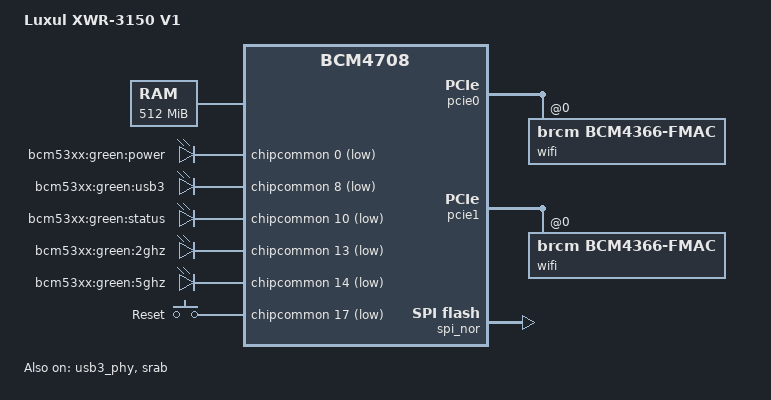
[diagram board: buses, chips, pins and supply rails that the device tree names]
// SPDX-License-Identifier: GPL-2.0-or-later OR MIT
/*
 * Copyright 2018 Luxul Inc.
 */

/dts-v1/;

#include "bcm47094.dtsi"
#include "bcm5301x-nand-cs0-bch8.dtsi"

/ {
	compatible = "luxul,xwr-3150-v1", "brcm,bcm47094", "brcm,bcm4708";
	model = "Luxul XWR-3150 V1";

	chosen {
		bootargs = "earlycon";
	};

	memory@0 {
		device_type = "memory";
		reg = <0x00000000 0x08000000>,
		      <0x88000000 0x18000000>;
	};

	nvram@1eff0000 {
		compatible = "brcm,nvram";
		reg = <0x1eff0000 0x10000>;

		et0macaddr: et0macaddr {
			#nvmem-cell-cells = <1>;
		};
	};

	leds {
		compatible = "gpio-leds";

		led-power {
			label = "bcm53xx:green:power";
			gpios = <&chipcommon 0 GPIO_ACTIVE_LOW>;
			linux,default-trigger = "default-on";
		};

		led-usb3 {
			label = "bcm53xx:green:usb3";
			gpios = <&chipcommon 8 GPIO_ACTIVE_LOW>;
			trigger-sources = <&ohci_port1>, <&ehci_port1>,
					  <&xhci_port1>;
			linux,default-trigger = "usbport";
		};

		led-status {
			label = "bcm53xx:green:status";
			gpios = <&chipcommon 10 GPIO_ACTIVE_LOW>;
			linux,default-trigger = "timer";
		};

		led-2ghz {
			label = "bcm53xx:green:2ghz";
			gpios = <&chipcommon 13 GPIO_ACTIVE_LOW>;
		};

		led-5ghz {
			label = "bcm53xx:green:5ghz";
			gpios = <&chipcommon 14 GPIO_ACTIVE_LOW>;
		};
	};

	gpio-keys {
		compatible = "gpio-keys";

		button-restart {
			label = "Reset";
			linux,code = <KEY_RESTART>;
			gpios = <&chipcommon 17 GPIO_ACTIVE_LOW>;
		};
	};
};

&gmac0 {
	nvmem-cells = <&et0macaddr 0>;
	nvmem-cell-names = "mac-address";
};

&pcie0 {
	#address-cells = <3>;
	#size-cells = <2>;

	bridge@0,0 {
		reg = <0x0000 0 0 0 0>;

		#address-cells = <3>;
		#size-cells = <2>;

		wifi@0,0 {
			compatible = "brcm,bcm4366-fmac", "brcm,bcm4329-fmac";
			reg = <0x0000 0 0 0 0>;
			brcm,ccode-map = "AU-AU-953", "CA-CA-946", "GB-E0-846", "NZ-AU-953", "US-Q2-930";
		};
	};
};

&pcie1 {
	#address-cells = <3>;
	#size-cells = <2>;

	bridge@0,0 {
		reg = <0x0000 0 0 0 0>;

		#address-cells = <3>;
		#size-cells = <2>;

		wifi@0,0 {
			compatible = "brcm,bcm4366-fmac", "brcm,bcm4329-fmac";
			reg = <0x0000 0 0 0 0>;
			brcm,ccode-map = "AU-AU-953", "CA-CA-946", "GB-E0-846", "NZ-AU-953", "US-Q2-930";
		};
	};
};

&usb3 {
	vcc-gpio = <&chipcommon 18 GPIO_ACTIVE_HIGH>;
};

&usb3_phy {
	status = "okay";
};

&spi_nor {
	status = "okay";
};

&srab {
	status = "okay";

	ports {
		port@0 {
			label = "lan4";
		};

		port@1 {
			label = "lan3";
		};

		port@2 {
			label = "lan2";
		};

		port@3 {
			label = "lan1";
		};

		port@4 {
			label = "wan";
			nvmem-cells = <&et0macaddr 5>;
			nvmem-cell-names = "mac-address";
		};

		port@5 {
			label = "cpu";
		};

		port@7 {
			status = "disabled";
		};

		port@8 {
			status = "disabled";
		};
	};
};
